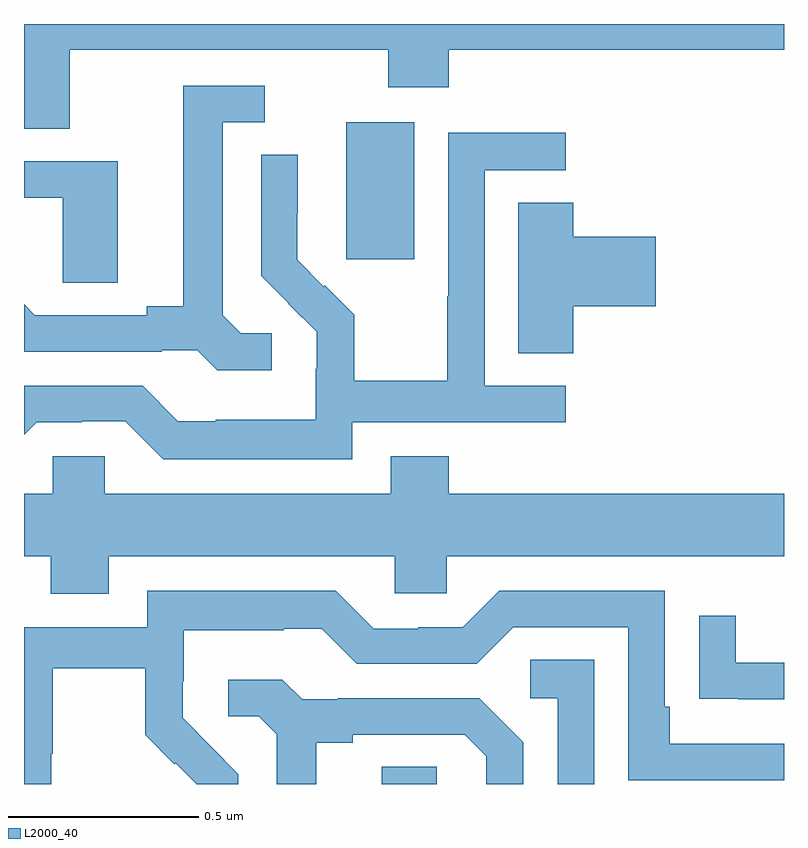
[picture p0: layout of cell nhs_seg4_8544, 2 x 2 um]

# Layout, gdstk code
import gdstk
lib = gdstk.Library(unit=1e-6, precision=1e-09)
def R(c, l, rs):  # rectangles x0, y0, x1, y1
    for r in rs: c.add(gdstk.rectangle(r[:2], r[2:], *l))
def P(c, l, *ps):  # polygons
    for p in ps: c.add(gdstk.Polygon(p, *l))
L2000_40 = (2000, 40)

nhs_seg4_8544 = lib.new_cell('nhs_seg4_8544')
R(nhs_seg4_8544, L2000_40, [(216.941,782.9,217.086,782.945), (216.848,784.281,217.027,784.642)])
P(nhs_seg4_8544, L2000_40, [(216.121,784.832),(216.958,784.832),(216.958,784.733),(217.118,784.733),(217.118,784.832),(218,784.832),(218,784.9),(216,784.9),(216,784.624),(216.121,784.624)],
  [(216.652,784.086),(216.57,784.086),(216.523,784.133),(216.523,784.641),(216.634,784.641),(216.634,784.737),(216.419,784.737),(216.419,784.157),(216.323,784.157),(216.323,784.134),(216.028,784.134),(216,784.162),(216,784.038),(216.362,784.038),(216.362,784.041),(216.456,784.041),(216.508,783.989),(216.652,783.989)],
  [(216.864,783.852),(217.426,783.852),(217.426,783.948),(217.212,783.948),(217.212,784.515),(217.426,784.515),(217.426,784.614),(217.116,784.614),(217.116,784.184),(217.114,784.184),(217.114,783.961),(216.869,783.961),(216.869,784.135),(216.792,784.212),(216.789,784.209),(216.719,784.28),(216.719,784.402),(216.72,784.402),(216.72,784.556),(216.624,784.556),(216.624,784.238),(216.697,784.165),(216.696,784.164),(216.77,784.09),(216.77,783.993),(216.768,783.993),(216.768,783.859),(216.505,783.859),(216.505,783.855),(216.405,783.855),(216.312,783.948),(216,783.948),(216,783.819),(216.033,783.852),(216.152,783.852),(216.152,783.855),(216.267,783.855),(216.367,783.755),(216.864,783.755)],
  [(216.247,784.539),(216,784.539),(216,784.443),(216.102,784.443),(216.102,784.219),(216.247,784.219)],
  [(217.445,784.157),(217.663,784.157),(217.663,784.34),(217.445,784.34),(217.445,784.43),(217.301,784.43),(217.301,784.033),(217.445,784.033)],
  [(216.223,783.5),(216.975,783.5),(216.975,783.402),(217.113,783.402),(217.113,783.5),(218,783.5),(218,783.664),(217.118,783.664),(217.118,783.763),(216.965,783.763),(216.965,783.664),(216.213,783.664),(216.213,783.762),(216.075,783.762),(216.075,783.664),(216,783.664),(216,783.5),(216.071,783.5),(216.071,783.401),(216.223,783.401)],
  [(216.072,782.98),(216.075,782.98),(216.075,783.204),(216.319,783.204),(216.319,783.029),(216.396,782.952),(216.399,782.955),(216.455,782.9),(216.564,782.9),(216.564,782.926),(216.491,782.999),(216.492,783),(216.418,783.074),(216.418,783.171),(216.42,783.171),(216.42,783.305),(216.683,783.305),(216.683,783.309),(216.783,783.309),(216.876,783.216),(217.191,783.216),(217.287,783.312),(217.59,783.312),(217.59,782.91),(218,782.91),(218,783.006),(217.699,783.006),(217.699,783.103),(217.686,783.103),(217.686,783.408),(217.251,783.408),(217.155,783.312),(217.037,783.312),(217.037,783.309),(216.921,783.309),(216.821,783.409),(216.324,783.409),(216.324,783.312),(216,783.312),(216,782.9),(216.072,782.9)],
  [(218,783.219),(217.873,783.219),(217.873,783.343),(217.777,783.343),(217.777,783.124),(217.879,783.124),(217.879,783.123),(218,783.123)],
  [(217.5,783.227),(217.332,783.227),(217.332,783.126),(217.404,783.126),(217.404,782.9),(217.5,782.9)],
  [(216.769,783.008),(216.865,783.008),(216.865,783.03),(217.16,783.03),(217.217,782.973),(217.217,782.9),(217.314,782.9),(217.314,783.01),(217.198,783.126),(216.826,783.126),(216.826,783.123),(216.732,783.123),(216.68,783.175),(216.537,783.175),(216.537,783.078),(216.618,783.078),(216.665,783.031),(216.665,782.9),(216.769,782.9)])

lib.write_gds('nhs_seg4_8544.gds')
